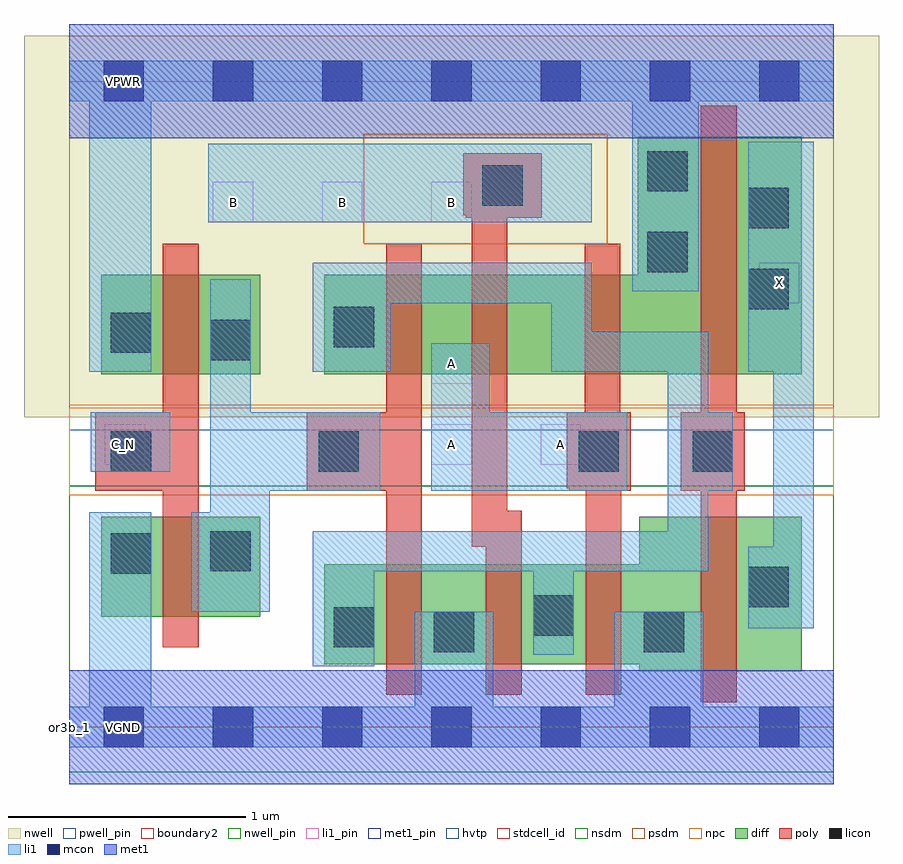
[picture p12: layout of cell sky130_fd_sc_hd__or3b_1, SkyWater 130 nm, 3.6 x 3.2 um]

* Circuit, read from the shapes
.subckt sky130_fd_sc_hd__or3b_1 A B C_N VGND VNB VPB VPWR X
XM1 n1 C_N VGND VNB sky130_fd_pr__nfet_01v8 w=0.42 l=0.15
XM2 VGND n1 n2 VNB sky130_fd_pr__nfet_01v8 w=0.42 l=0.15
XM3 n2 B VGND VNB sky130_fd_pr__nfet_01v8 w=0.42 l=0.15
XM4 VGND A n2 VNB sky130_fd_pr__nfet_01v8 w=0.42 l=0.15
XM5 X n2 VGND VNB sky130_fd_pr__nfet_01v8 w=0.65 l=0.15
XM6 n1 C_N VPWR VPB sky130_fd_pr__pfet_01v8_hvt w=0.42 l=0.15
XM7 n3 n1 n2 VPB sky130_fd_pr__pfet_01v8_hvt w=0.42 l=0.15
XM8 n4 B n3 VPB sky130_fd_pr__pfet_01v8_hvt w=0.42 l=0.15
XM9 VPWR A n4 VPB sky130_fd_pr__pfet_01v8_hvt w=0.42 l=0.15
XM10 X n2 VPWR VPB sky130_fd_pr__pfet_01v8_hvt w=1 l=0.15
.ends

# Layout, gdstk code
import gdstk
lib = gdstk.Library(unit=1e-6, precision=1e-09)
def R(c, l, rs):  # rectangles x0, y0, x1, y1
    for r in rs: c.add(gdstk.rectangle(r[:2], r[2:], *l))
def A(c, l, x, y, w, h, nx, ny, dx, dy):  # array of equal rectangles
    R(c, l, [(x+i*dx, y+j*dy, x+i*dx+w, y+j*dy+h) for i in range(nx) for j in range(ny)])
def P(c, l, *ps):  # polygons
    for p in ps: c.add(gdstk.Polygon(p, *l))
nwell_pin = (64, 16)
nwell = (64, 20)
diff = (65, 20)
poly = (66, 20)
licon = (66, 44)
li1_pin = (67, 16)
li1 = (67, 20)
mcon = (67, 44)
met1_pin = (68, 16)
met1 = (68, 20)
hvtp = (78, 44)
stdcell_id = (81, 4)
nsdm = (93, 44)
psdm = (94, 20)
npc = (95, 20)
pwell_pin = (122, 16)
boundary2 = (236, 0)

sky130_fd_sc_hd__or3b_1 = lib.new_cell('sky130_fd_sc_hd__or3b_1')
R(sky130_fd_sc_hd__or3b_1, nwell_pin, [(0.145,2.635,0.315,2.805)])
R(sky130_fd_sc_hd__or3b_1, nwell, [(-0.19,1.305,3.41,2.91)])
R(sky130_fd_sc_hd__or3b_1, diff, [(0.135,0.465,0.805,0.885), (0.135,1.485,0.805,1.905)])
P(sky130_fd_sc_hd__or3b_1, diff, [(3.085,0.885),(2.4,0.885),(2.4,0.685),(1.075,0.685),(1.075,0.265),(2.4,0.265),(2.4,0.235),(3.085,0.235)],
  [(3.085,2.485),(2.395,2.485),(2.395,1.905),(1.075,1.905),(1.075,1.485),(3.085,1.485)])
P(sky130_fd_sc_hd__or3b_1, poly, [(2.845,1.325),(2.81,1.325),(2.81,2.615),(2.66,2.615),(2.66,1.325),(2.575,1.325),(2.575,0.995),(2.66,0.995),(2.66,0.105),(2.81,0.105),(2.81,0.995),(2.845,0.995)],
  [(2.365,1.325),(2.32,1.325),(2.32,2.035),(2.17,2.035),(2.17,1.325),(2.095,1.325),(2.095,1.005),(2.105,1.005),(2.105,0.995),(2.175,0.995),(2.175,0.135),(2.325,0.135),(2.325,0.995),(2.365,0.995)],
  [(1.99,2.415),(1.66,2.415),(1.66,2.155),(1.67,2.155),(1.67,2.145),(1.695,2.145),(1.695,0.76),(1.755,0.76),(1.755,0.135),(1.905,0.135),(1.905,0.91),(1.845,0.91),(1.845,2.145),(1.99,2.145)],
  [(1.485,2.035),(1.335,2.035),(1.335,1.325),(1,1.325),(1,0.995),(1.335,0.995),(1.335,0.135),(1.485,0.135)],
  [(0.545,2.035),(0.395,2.035),(0.395,1.325),(0.11,1.325),(0.11,0.995),(0.395,0.995),(0.395,0.335),(0.545,0.335)])
R(sky130_fd_sc_hd__or3b_1, licon, [(1.535,0.315,1.705,0.485), (2.42,0.315,2.59,0.485), (1.115,0.335,1.285,0.505), (1.955,0.385,2.125,0.555), (2.86,0.505,3.03,0.675), (0.175,0.645,0.345,0.815), (0.595,0.655,0.765,0.825), (0.175,1.075,0.345,1.245), (1.05,1.075,1.22,1.245), (2.145,1.075,2.315,1.245), (2.625,1.075,2.795,1.245), (0.595,1.545,0.765,1.715), (0.175,1.575,0.345,1.745), (1.115,1.6,1.285,1.77), (2.86,1.76,3.03,1.93), (2.435,1.915,2.605,2.085), (2.86,2.1,3.03,2.27), (1.74,2.195,1.91,2.365), (2.435,2.255,2.605,2.425)])
A(sky130_fd_sc_hd__or3b_1, li1_pin, 0.605, 2.125, 0.17, 0.17, 3, 1, 0.46, 0)
R(sky130_fd_sc_hd__or3b_1, li1_pin, [(0.15,1.105,0.32,1.275), (1.525,1.105,1.695,1.275), (1.985,1.105,2.155,1.275), (1.525,1.445,1.695,1.615), (2.905,1.785,3.075,1.955)])
R(sky130_fd_sc_hd__or3b_1, li1, [(0.09,1.075,0.425,1.325), (0.585,2.125,2.2,2.455)])
P(sky130_fd_sc_hd__or3b_1, li1, [(3.22,0.085),(2.67,0.085),(2.67,0.485),(2.295,0.485),(2.295,0.085),(1.785,0.085),(1.785,0.485),(1.455,0.485),(1.455,0.085),(0.345,0.085),(0.345,0.905),(0.085,0.905),(0.085,0.085),(0,0.085),(0,-0.085),(3.22,-0.085)],
  [(3.135,2.465),(2.86,2.465),(2.86,1.495),(2.965,1.495),(2.965,0.76),(2.86,0.76),(2.86,0.415),(3.135,0.415)],
  [(2.795,1.325),(2.69,1.325),(2.69,1.665),(2.2,1.665),(2.2,1.955),(1.025,1.955),(1.025,1.495),(1.355,1.495),(1.355,1.785),(2.03,1.785),(2.03,1.495),(2.52,1.495),(2.52,0.825),(1.025,0.825),(1.025,0.255),(1.285,0.255),(1.285,0.655),(1.955,0.655),(1.955,0.305),(2.125,0.305),(2.125,0.655),(2.69,0.655),(2.69,0.995),(2.795,0.995)],
  [(2.35,1.325),(1.77,1.325),(1.77,1.615),(1.525,1.615),(1.525,0.995),(2.35,0.995)],
  [(3.22,2.805),(0,2.805),(0,2.635),(0.085,2.635),(0.085,1.495),(0.345,1.495),(0.345,2.635),(2.37,2.635),(2.37,1.835),(2.65,1.835),(2.65,2.635),(3.22,2.635)],
  [(1.31,1.325),(0.765,1.325),(0.765,1.885),(0.595,1.885),(0.595,0.905),(0.515,0.905),(0.515,0.485),(0.845,0.485),(0.845,0.995),(1.31,0.995)])
A(sky130_fd_sc_hd__or3b_1, mcon, 0.145, -0.085, 0.17, 0.17, 7, 2, 0.46, 2.72)
R(sky130_fd_sc_hd__or3b_1, met1_pin, [(0.145,-0.085,0.315,0.085), (0.145,2.635,0.315,2.805)])
R(sky130_fd_sc_hd__or3b_1, hvtp, [(0,1.25,3.22,2.72)])
R(sky130_fd_sc_hd__or3b_1, stdcell_id, [(0,0,3.22,2.72)])
R(sky130_fd_sc_hd__or3b_1, nsdm, [(0,-0.19,3.22,1.015)])
P(sky130_fd_sc_hd__or3b_1, psdm, [(3.22,2.91),(2.265,2.91),(2.265,2.035),(1.24,2.035),(1.24,2.495),(2.265,2.495),(2.265,2.91),(0,2.91),(0,1.355),(3.22,1.355)])
R(sky130_fd_sc_hd__or3b_1, npc, [(0,0.975,3.22,1.345), (1.24,2.035,2.265,2.495)])
R(sky130_fd_sc_hd__or3b_1, pwell_pin, [(0.145,-0.085,0.315,0.085)])
R(sky130_fd_sc_hd__or3b_1, boundary2, [(0,0,3.22,2.72)])
sky130_fd_sc_hd__or3b_1.add(gdstk.FlexPath([(0,2.72),(3.22,2.72)], 0.48, ends="flush", simple_path=True, layer=68, datatype=20))  # met1
sky130_fd_sc_hd__or3b_1.add(gdstk.FlexPath([(0,0),(3.22,0)], 0.48, ends="flush", simple_path=True, layer=68, datatype=20))  # met1
sky130_fd_sc_hd__or3b_1.add(gdstk.Label('A', (1.61,1.53), layer=67, texttype=5))
sky130_fd_sc_hd__or3b_1.add(gdstk.Label('A', (2.07,1.19), layer=67, texttype=5))
sky130_fd_sc_hd__or3b_1.add(gdstk.Label('C_N', (0.23,1.19), layer=67, texttype=5))
sky130_fd_sc_hd__or3b_1.add(gdstk.Label('X', (2.99,1.87), layer=67, texttype=5))
sky130_fd_sc_hd__or3b_1.add(gdstk.Label('A', (1.61,1.19), layer=67, texttype=5))
sky130_fd_sc_hd__or3b_1.add(gdstk.Label('B', (1.15,2.21), layer=67, texttype=5))
sky130_fd_sc_hd__or3b_1.add(gdstk.Label('B', (0.69,2.21), layer=67, texttype=5))
sky130_fd_sc_hd__or3b_1.add(gdstk.Label('B', (1.61,2.21), layer=67, texttype=5))
sky130_fd_sc_hd__or3b_1.add(gdstk.Label('VGND', (0.23,0), layer=68, texttype=5))
sky130_fd_sc_hd__or3b_1.add(gdstk.Label('VPWR', (0.23,2.72), layer=68, texttype=5))
sky130_fd_sc_hd__or3b_1.add(gdstk.Label('VPB', (0.23,2.72), layer=64, texttype=5))
sky130_fd_sc_hd__or3b_1.add(gdstk.Label('VNB', (0.23,0), layer=64, texttype=59))
sky130_fd_sc_hd__or3b_1.add(gdstk.Label('or3b_1', (0,0), layer=83, texttype=44))

lib.write_gds('sky130_fd_sc_hd__or3b_1.gds')
